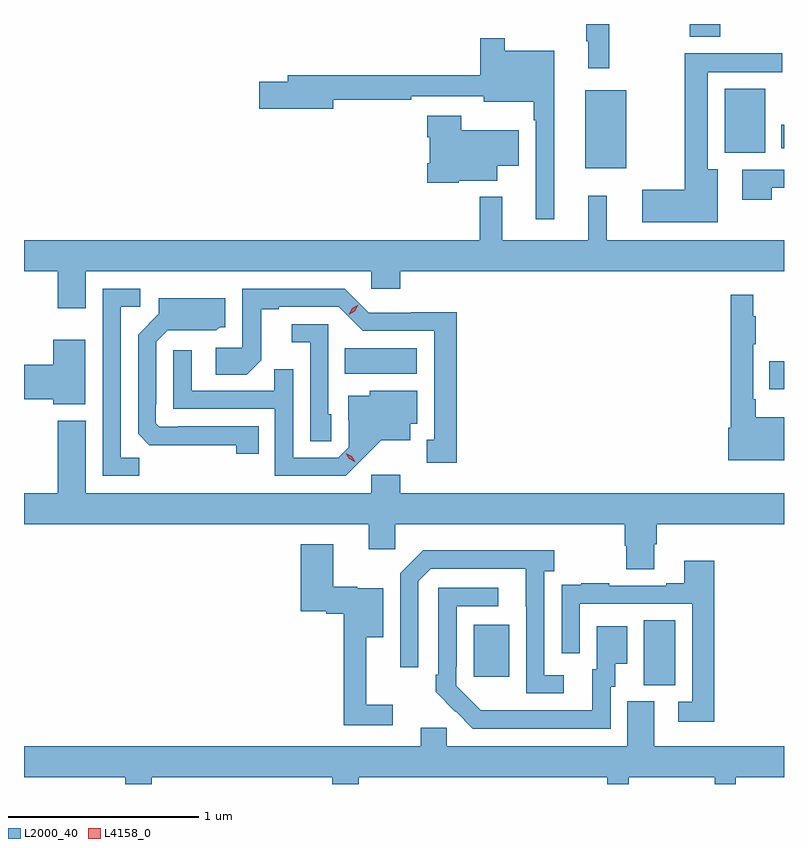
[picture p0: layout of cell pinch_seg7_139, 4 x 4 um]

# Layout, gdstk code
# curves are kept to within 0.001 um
import gdstk
lib = gdstk.Library(unit=1e-6, precision=1e-09)
def R(c, l, rs):  # rectangles x0, y0, x1, y1
    for r in rs: c.add(gdstk.rectangle(r[:2], r[2:], *l))
def P(c, l, *ps):  # polygons
    for p in ps: c.add(gdstk.Polygon(p, *l))
L2000_40 = (2000, 40)
L4158_0 = (4158, 0)

pinch_seg7_139 = lib.new_cell('pinch_seg7_139')
R(pinch_seg7_139, L2000_40, [(1031.828,1003.765,1031.992,1004.108), (1030.931,1003.809,1031.119,1004.083), (1032.487,1005.323,1032.565,1005.471), (1030.252,1005.404,1030.632,1005.538), (1031.519,1006.487,1031.734,1006.897), (1032.254,1006.568,1032.466,1006.903), (1032.551,1006.592,1032.565,1006.714), (1032.07,1007.177,1032.23,1007.245)])
P(pinch_seg7_139, L2000_40, [(1031.644,1007.245),(1031.523,1007.245),(1031.523,1007.153),(1031.534,1007.153),(1031.534,1007.013),(1031.644,1007.013)],
  [(1031.356,1007.104),(1031.095,1007.104),(1031.095,1007.17),(1030.966,1007.17),(1030.966,1006.975),(1029.953,1006.975),(1029.953,1006.941),(1029.804,1006.941),(1029.804,1006.799),(1030.192,1006.799),(1030.192,1006.846),(1030.604,1006.846),(1030.604,1006.866),(1030.985,1006.866),(1030.985,1006.835),(1031.247,1006.835),(1031.247,1006.739),(1031.259,1006.739),(1031.259,1006.218),(1031.356,1006.218)],
  [(1032.217,1006.48),(1032.163,1006.48),(1032.163,1006.992),(1032.555,1006.992),(1032.555,1007.09),(1032.043,1007.09),(1032.043,1006.373),(1031.82,1006.373),(1031.82,1006.202),(1032.217,1006.202)],
  [(1030.854,1006.421),(1031.056,1006.421),(1031.056,1006.499),(1031.17,1006.499),(1031.17,1006.687),(1030.866,1006.687),(1030.866,1006.762),(1030.688,1006.762),(1030.688,1006.649),(1030.7,1006.649),(1030.7,1006.513),(1030.688,1006.513),(1030.688,1006.409),(1030.854,1006.409)],
  [(1032.501,1006.383),(1032.565,1006.383),(1032.565,1006.479),(1032.345,1006.479),(1032.345,1006.32),(1032.501,1006.32)],
  [(1028.89,1005.944),(1030.392,1005.944),(1030.392,1005.851),(1030.544,1005.851),(1030.544,1005.944),(1032.565,1005.944),(1032.565,1006.108),(1031.632,1006.108),(1031.632,1006.342),(1031.534,1006.342),(1031.534,1006.108),(1031.081,1006.108),(1031.081,1006.336),(1030.963,1006.336),(1030.963,1006.108),(1028.565,1006.108),(1028.565,1005.944),(1028.743,1005.944),(1028.743,1005.75),(1028.89,1005.75)],
  [(1030.843,1005.728),(1030.602,1005.728),(1030.602,1005.726),(1030.38,1005.726),(1030.254,1005.852),(1029.714,1005.852),(1029.714,1005.54),(1029.573,1005.54),(1029.573,1005.4),(1029.737,1005.4),(1029.813,1005.476),(1029.813,1005.744),(1029.907,1005.744),(1029.907,1005.756),(1030.221,1005.756),(1030.347,1005.63),(1030.724,1005.63),(1030.724,1005.057),(1030.685,1005.057),(1030.685,1004.937),(1030.843,1004.937)],
  [(1029.171,1004.963),(1029.075,1004.963),(1029.075,1005.756),(1029.178,1005.756),(1029.178,1005.852),(1028.979,1005.852),(1028.979,1004.868),(1029.171,1004.868)],
  [(1032.565,1005.175),(1032.415,1005.175),(1032.415,1005.271),(1032.402,1005.271),(1032.402,1005.559),(1032.415,1005.559),(1032.415,1005.707),(1032.404,1005.707),(1032.404,1005.82),(1032.286,1005.82),(1032.286,1005.119),(1032.272,1005.119),(1032.272,1004.948),(1032.565,1004.948)],
  [(1029.8,1005.129),(1029.376,1005.129),(1029.376,1005.126),(1029.276,1005.126),(1029.258,1005.144),(1029.258,1005.244),(1029.261,1005.244),(1029.261,1005.573),(1029.321,1005.633),(1029.578,1005.632),(1029.594,1005.648),(1029.625,1005.648),(1029.625,1005.802),(1029.275,1005.802),(1029.275,1005.72),(1029.165,1005.61),(1029.165,1005.088),(1029.224,1005.029),(1029.682,1005.028),(1029.682,1004.982),(1029.8,1004.982)],
  [(1030.182,1005.192),(1030.167,1005.192),(1030.167,1005.666),(1029.975,1005.666),(1029.975,1005.569),(1030.071,1005.569),(1030.071,1005.049),(1030.182,1005.049)],
  [(1028.887,1005.583),(1028.72,1005.583),(1028.72,1005.452),(1028.565,1005.452),(1028.565,1005.269),(1028.72,1005.269),(1028.72,1005.245),(1028.887,1005.245)],
  [(1030.342,1004.951),(1030.445,1005.053),(1030.597,1005.053),(1030.597,1005.14),(1030.636,1005.14),(1030.636,1005.316),(1030.386,1005.316),(1030.386,1005.289),(1030.271,1005.289),(1030.271,1005.16),(1030.275,1005.16),(1030.275,1005.018),(1030.218,1004.961),(1029.981,1004.961),(1029.981,1005.428),(1029.883,1005.428),(1029.883,1005.315),(1029.447,1005.315),(1029.447,1005.529),(1029.351,1005.529),(1029.351,1005.219),(1029.885,1005.219),(1029.885,1004.868),(1030.258,1004.868)],
  [(1031.881,1004.506),(1031.894,1004.506),(1031.894,1004.612),(1032.565,1004.612),(1032.565,1004.776),(1030.544,1004.776),(1030.544,1004.872),(1030.392,1004.872),(1030.392,1004.776),(1028.89,1004.776),(1028.89,1005.157),(1028.743,1005.157),(1028.743,1004.776),(1028.565,1004.776),(1028.565,1004.612),(1030.379,1004.612),(1030.379,1004.481),(1030.518,1004.481),(1030.518,1004.612),(1031.728,1004.612),(1031.728,1004.499),(1031.734,1004.499),(1031.734,1004.374),(1031.881,1004.374)],
  [(1030.507,1003.663),(1030.367,1003.663),(1030.367,1004.018),(1030.456,1004.018),(1030.456,1004.275),(1030.32,1004.275),(1030.32,1004.283),(1030.192,1004.283),(1030.192,1004.506),(1030.022,1004.506),(1030.022,1004.153),(1030.155,1004.153),(1030.155,1004.141),(1030.249,1004.141),(1030.249,1003.554),(1030.507,1003.554)],
  [(1031.407,1003.818),(1031.304,1003.818),(1031.304,1004.366),(1031.356,1004.366),(1031.356,1004.476),(1030.666,1004.476),(1030.545,1004.355),(1030.545,1003.86),(1030.641,1003.86),(1030.641,1004.313),(1030.707,1004.379),(1031.207,1004.379),(1031.208,1003.722),(1031.407,1003.722)],
  [(1032.197,1004.419),(1032.041,1004.419),(1032.041,1004.302),(1031.945,1004.302),(1031.945,1004.289),(1031.645,1004.289),(1031.645,1004.302),(1031.497,1004.302),(1031.497,1004.295),(1031.395,1004.295),(1031.395,1004.186),(1031.394,1004.186),(1031.394,1003.932),(1031.49,1003.932),(1031.49,1004.193),(1032.081,1004.193),(1032.081,1003.677),(1032.009,1003.677),(1032.009,1003.572),(1032.197,1003.572)],
  [(1031.652,1003.758),(1031.677,1003.758),(1031.677,1003.877),(1031.74,1003.877),(1031.74,1004.074),(1031.579,1004.074),(1031.579,1003.848),(1031.555,1003.848),(1031.555,1003.632),(1030.968,1003.633),(1030.839,1003.761),(1030.839,1003.861),(1030.842,1003.861),(1030.842,1004.181),(1031.062,1004.181),(1031.062,1004.277),(1030.746,1004.277),(1030.746,1003.819),(1030.731,1003.819),(1030.731,1003.731),(1030.928,1003.536),(1031.652,1003.536)],
  [(1029.237,1003.28),(1030.187,1003.28),(1030.187,1003.245),(1030.327,1003.245),(1030.327,1003.28),(1031.634,1003.28),(1031.634,1003.245),(1031.747,1003.245),(1031.747,1003.28),(1032.2,1003.28),(1032.2,1003.245),(1032.31,1003.245),(1032.31,1003.28),(1032.565,1003.28),(1032.565,1003.444),(1031.881,1003.444),(1031.881,1003.68),(1031.741,1003.68),(1031.741,1003.444),(1030.791,1003.444),(1030.791,1003.542),(1030.652,1003.542),(1030.652,1003.444),(1028.565,1003.444),(1028.565,1003.28),(1029.098,1003.28),(1029.098,1003.245),(1029.237,1003.245)])
P(pinch_seg7_139, L4158_0, [(1030.275,1005.715),(1030.275,1005.716),(1030.292,1005.748),(1030.324,1005.767),(1030.324,1005.767),(1030.324,1005.767),(1030.307,1005.734),(1030.275,1005.715)],
  [(1030.307,1004.941),(1030.276,1004.956),(1030.259,1004.985),(1030.259,1004.985),(1030.259,1004.985),(1030.29,1004.971),(1030.308,1004.942),(1030.308,1004.941)])

lib.write_gds('pinch_seg7_139.gds')
